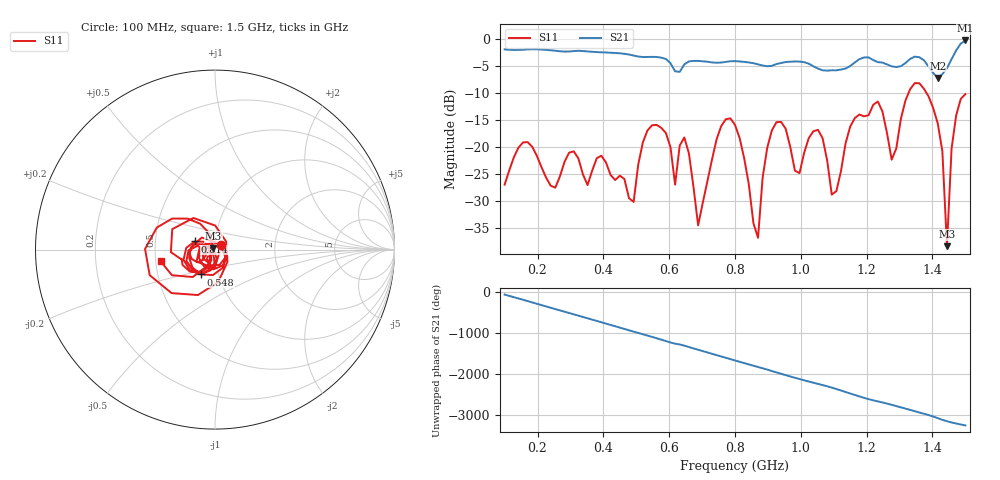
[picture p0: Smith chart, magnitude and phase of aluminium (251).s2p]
! NanoVNA-App
! Date: 2025-09-25 14:57:14
! Start: 100MHz Stop: 1,5GHz Points: 101
! S-Parameter data: F S11 S21 S12 S22
# Hz S RI R 50
!  Frequency  S11_Real  S11_Imag  S21_Real  S21_Imag  S12_Real  S12_Imag  S22_Real  S22_Imag
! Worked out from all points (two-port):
!   101 points, 100 MHz to 1.5 GHz, reference 50 ohm
!   highest |S21| = -0.27 dB at 1.5 GHz (marker M1); lowest = -7.2 dB at 1.416 GHz (marker M2)
!   |S21| within 3 dB of the highest: start of sweep to 509.7 MHz; 1.462 GHz to end of sweep (the widest 2 of 3)
!   lowest |S11| = -38.3 dB at 1.444 GHz (marker M3), VSWR 1.02, Z = 49 + j0.644 ohm
!   |S11| at or under -10 dB: start of sweep to 1.327 GHz; 1.382 GHz to end of sweep
!   S12 and S22 are empty: the file has one direction only
!   S11 on the Smith chart (normalised r, x): 100 MHz: 1.07, +0.06; 548 MHz: 0.82, -0.23; 814 MHz: 0.79, +0.07; 1.5 GHz: 0.53, -0.08
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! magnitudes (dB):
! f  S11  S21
! 100 MHz  -27.0  -1.9
! 338 MHz  -25.0  -2.2
! 492 MHz  -30.1  -3.1
! 548 MHz  -16.0  -3.3
! 576 MHz  -16.4  -3.4
! 618 MHz  -26.9  -6.0
! 646 MHz  -18.2  -4.7
! 688 MHz  -34.5  -4.1
! 800 MHz  -15.9  -4.1
! 814 MHz  -18.3  -4.2
! 870 MHz  -36.8  -4.7
! 912 MHz  -16.9  -5.0
! 996 MHz  -24.8  -4.2
! 1.038 GHz  -17.1  -5.0
! 1.094 GHz  -28.8  -5.8
! 1.234 GHz  -11.6  -4.3
! 1.276 GHz  -22.3  -5.1
! 1.346 GHz  -8.2  -3.3
! 1.416 GHz  -15.6  -7.2
! 1.444 GHz  -38.3  -5.4
! 1.458 GHz  -20.3  -3.7
! 1.5 GHz  -10.2  -0.3
